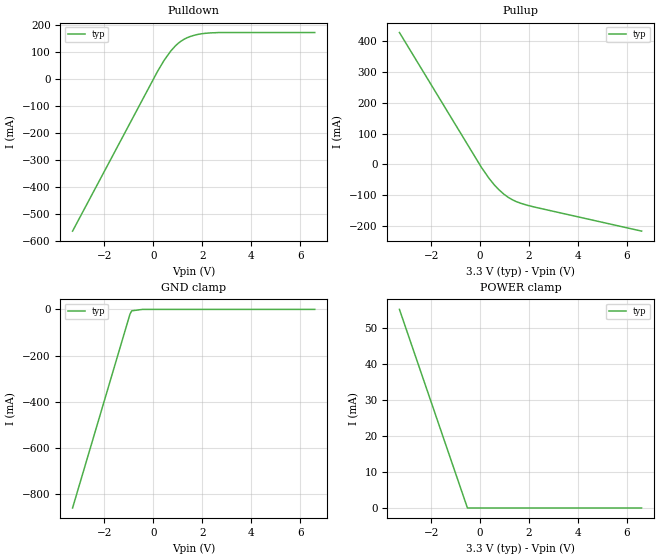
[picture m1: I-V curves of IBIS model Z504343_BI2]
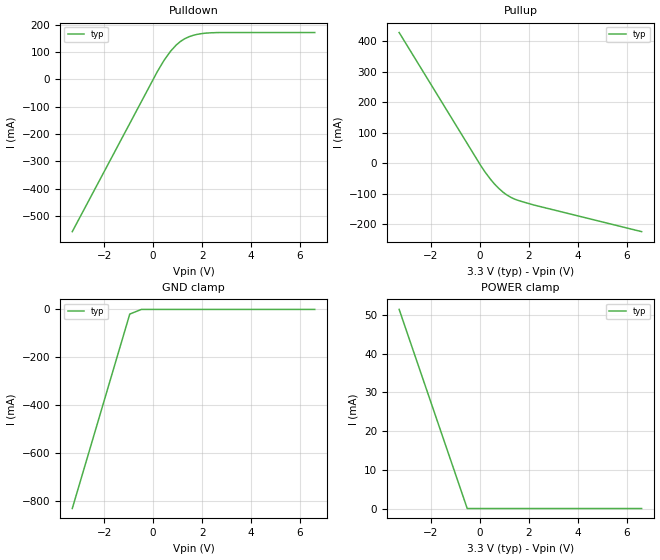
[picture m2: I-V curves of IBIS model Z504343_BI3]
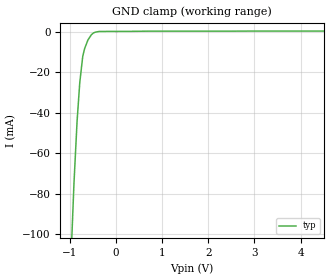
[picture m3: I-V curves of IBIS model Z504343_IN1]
| YOU ARE ONLY AUTHORIZED TO USE THIS SOFTWARE
| ACCORDING TO LICENSOR'S LICENSE RESTRICTIONS.
[IBIS Ver] 3.1
[File Name] mc74lcx245dw.ibs
[File Rev] 2.0
[Source] Measured and created by ICX Technology
[Date] Friday 7/14/00 9:08:12 AM
[Copyright]
| (C) COPYRIGHT 1993-2000
| MENTOR GRAPHICS CORPORATION
| ICX STANDARD LIBRARY, ICX PROJECT MODELING,
| ICX CUSTOM MODELING, ICX VENDOR MODEL
| ALL RIGHTS RESERVED.
| THE FOLLOWING ARE TRADEMARKS OR SERVICE MARKS OF
| MENTOR GRAPHICS CORPORATION:ICX (R), ICX STANDARD
| LIBRARY(R), ICX PROJECT MODELING(R), ICX CUSTOM
| MODELING(R), qualityIBIS(TM), MODELVIEWER(TM),
| AND MODELEDITOR(TM)
| ALL COPIES OF SOFTWARE, INCLUDING BUT NOT LIMITED TO
| ANY MODIFICATIONS, ENHANCEMENTS OR DERIVATIVE WORKS,
| MUST CONTAIN ALL MENTOR GRAPHICS CORPORATION'S
| NOTICES AND LEGENDS, INCLUDING THOSE EMBEDDED IN
| SOFTWARE AND THOSE AFFIXED TO SOFTWARE MEDIUM
| AND CONTAINER, AS RECEIVED FROM MENTOR GRAPHICS
| CORPORATION.
|  ZAP Model Builder 2.7
[Component] MC74LCX245DW
[Manufacturer] OnSemiconductor
[Package]
| variable   typ   min   max
R_pkg  .178ohms NA NA
L_pkg  4.43nH NA NA
C_pkg  .62pF NA NA
[Pin] signal_name  model_name  R_pin  L_pin C_pin
1 DIR Z504343_IN1 .186 5.37n .68p
2 A0 Z504343_BI2 .182 4.89n .65p
3 A1 Z504343_BI2 .178 4.42n .62p
4 A2 Z504343_BI2 .174 3.96n .59p
5 A3 Z504343_BI2 .17 3.51n .56p
6 A4 Z504343_BI2 .17 3.51n .56p
7 A5 Z504343_BI2 .174 3.96n .59p
8 A6 Z504343_BI2 .178 4.42n .62p
9 A7 Z504343_BI2 .182 4.89n .65p
10 GROUND GND .186 5.37n .68p
11 B7 Z504343_BI3 .186 5.37n .68p
12 B6 Z504343_BI3 .182 4.89n .65p
13 B5 Z504343_BI3 .178 4.42n .62p
14 B4 Z504343_BI3 .174 3.96n .59p
15 B3 Z504343_BI3 .17 3.51n .56p
16 B2 Z504343_BI3 .17 3.51n .56p
17 B1 Z504343_BI3 .174 3.96n .59p
18 B0 Z504343_BI3 .178 4.42n .62p
19 _G Z504343_IN4 .182 4.89n .65p
20 VCC POWER .186 5.37n .68p
| Models and submodels in the file (4): Z504343_BI2 (I/O), Z504343_BI3 (I/O), Z504343_IN1 (Input), Z504343_IN4 (Input)
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| (C) COPYRIGHT 1993-2000
| MENTOR GRAPHICS CORPORATION
| ICX STANDARD LIBRARY, ICX PROJECT MODELING,
| ICX CUSTOM MODELING, ICX VENDOR MODEL
| ALL RIGHTS RESERVED.
| THE FOLLOWING ARE TRADEMARKS OR SERVICE MARKS OF
| MENTOR GRAPHICS CORPORATION:ICX (R), ICX STANDARD
| LIBRARY(R), ICX PROJECT MODELING(R), ICX CUSTOM
| MODELING(R), qualityIBIS(TM), MODELVIEWER(TM),
| AND MODELEDITOR(TM)
| ALL COPIES OF SOFTWARE, INCLUDING BUT NOT LIMITED TO
| ANY MODIFICATIONS, ENHANCEMENTS OR DERIVATIVE WORKS,
| MUST CONTAIN ALL MENTOR GRAPHICS CORPORATION'S
| NOTICES AND LEGENDS, INCLUDING THOSE EMBEDDED IN
| SOFTWARE AND THOSE AFFIXED TO SOFTWARE MEDIUM
| AND CONTAINER, AS RECEIVED FROM MENTOR GRAPHICS
| CORPORATION.
| Model Application Version 1.89 2/18/99.
[Model] Z504343_BI2
Model_type I/O
Vinl=800.0mV
Vinh=2.000V
Vref=0.000V
Rref=500.0ohms
Cref=50.00pF
Vmeas=1.500V
C_comp 8.000pF NA NA
| variable typ   min   max
[Voltage Range] 3.300V NA NA
[POWER Clamp Reference] 3.300V NA NA
[Pullup Reference] 3.300V NA NA
[Pulldown Reference] 0.000V NA NA
[GND Clamp Reference] 0.000V NA NA
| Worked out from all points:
|   slope of the pulldown table from 0 to 0.495 V, typ, clamps not added: 6.41 ohm
|   slope of the pullup table from 0 to 0.495 V, typ, clamps not added: 8.92 ohm
[GND Clamp]
-3.3V     -861mA     NA         NA
-951.9mV  -20.14mA   NA         NA
-878.8mV  -6.101mA   NA         NA
-439.4mV  0A         NA         NA
6.6V      0A         NA         NA
[Pulldown]
-3.3V     -563.2mA   NA         NA
175.9mV   29.43mA    NA         NA
449.2mV   70.89mA    NA         NA
713mV     104.3mA    NA         NA
1.001V    131.8mA    NA         NA
1.265V    148.5mA    NA         NA
1.475V    157.1mA    NA         NA
1.783V    165.3mA    NA         NA
2.178V    170.6mA    NA         NA
6.6V      173.1mA    NA         NA
[Pullup]
-3.3V     429.1mA    NA         NA
49mV      -9.589mA   NA         NA
365mV     -45.88mA   NA         NA
581mV     -67.15mA   NA         NA
970mV     -97.08mA   NA         NA
1.464V    -120.9mA   NA         NA
1.93V     -133.2mA   NA         NA
6.6V      -217.3mA   NA         NA
[POWER Clamp]
-3.3V     55.07mA    NA         NA
-520.5mV  0A         NA         NA
6.6V      0A         NA         NA
[Ramp]
| variable typ min max
dV/dt_r 1.963/438.2p NA NA
dV/dt_f 1.963/1.253n NA NA
R_load = 500.0Ohms
| (C) COPYRIGHT 1993-2000
| MENTOR GRAPHICS CORPORATION
| ICX STANDARD LIBRARY, ICX PROJECT MODELING,
| ICX CUSTOM MODELING, ICX VENDOR MODEL
| ALL RIGHTS RESERVED.
| THE FOLLOWING ARE TRADEMARKS OR SERVICE MARKS OF
| MENTOR GRAPHICS CORPORATION:ICX (R), ICX STANDARD
| LIBRARY(R), ICX PROJECT MODELING(R), ICX CUSTOM
| MODELING(R), qualityIBIS(TM), MODELVIEWER(TM),
| AND MODELEDITOR(TM)
| ALL COPIES OF SOFTWARE, INCLUDING BUT NOT LIMITED TO
| ANY MODIFICATIONS, ENHANCEMENTS OR DERIVATIVE WORKS,
| MUST CONTAIN ALL MENTOR GRAPHICS CORPORATION'S
| NOTICES AND LEGENDS, INCLUDING THOSE EMBEDDED IN
| SOFTWARE AND THOSE AFFIXED TO SOFTWARE MEDIUM
| AND CONTAINER, AS RECEIVED FROM MENTOR GRAPHICS
| CORPORATION.
| Model Application Version 1.89 2/18/99.
[Model] Z504343_BI3
Model_type I/O
Vinl=800.0mV
Vinh=2.000V
Vref=0.000V
Rref=500.0ohms
Cref=50.00pF
Vmeas=1.500V
C_comp 8.000pF NA NA
| variable typ   min   max
[Voltage Range] 3.300V NA NA
[POWER Clamp Reference] 3.300V NA NA
[Pullup Reference] 3.300V NA NA
[Pulldown Reference] 0.000V NA NA
[GND Clamp Reference] 0.000V NA NA
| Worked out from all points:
|   slope of the pulldown table from 0 to 0.495 V, typ, clamps not added: 6.47 ohm
|   slope of the pullup table from 0 to 0.495 V, typ, clamps not added: 8.97 ohm
[GND Clamp]
-3.3V     -831.6mA   NA         NA
-952.6mV  -19.4mA    NA         NA
-476.3mV  0A         NA         NA
6.6V      0A         NA         NA
[Pulldown]
-3.3V     -558.1mA   NA         NA
176.7mV   29.15mA    NA         NA
449.4mV   70.14mA    NA         NA
714.3mV   103.3mA    NA         NA
948.4mV   126.3mA    NA         NA
1.114V    138.8mA    NA         NA
1.285V    148.7mA    NA         NA
1.65V     161.8mA    NA         NA
2.396V    171mA      NA         NA
6.6V      171.7mA    NA         NA
[Pullup]
-3.3V     428.8mA    NA         NA
13mV      -5.052mA   NA         NA
440mV     -53.3mA    NA         NA
766mV     -82.15mA   NA         NA
951mV     -95.23mA   NA         NA
1.43V     -117.9mA   NA         NA
2.187V    -136.4mA   NA         NA
6.6V      -224mA     NA         NA
[POWER Clamp]
-3.3V     51.43mA    NA         NA
-520.5mV  0A         NA         NA
6.6V      0A         NA         NA
[Ramp]
| variable typ min max
dV/dt_r 1.962/428.5p NA NA
dV/dt_f 1.962/1.073n NA NA
R_load = 500.0Ohms
| (C) COPYRIGHT 1993-2000
| MENTOR GRAPHICS CORPORATION
| ICX STANDARD LIBRARY, ICX PROJECT MODELING,
| ICX CUSTOM MODELING, ICX VENDOR MODEL
| ALL RIGHTS RESERVED.
| THE FOLLOWING ARE TRADEMARKS OR SERVICE MARKS OF
| MENTOR GRAPHICS CORPORATION:ICX (R), ICX STANDARD
| LIBRARY(R), ICX PROJECT MODELING(R), ICX CUSTOM
| MODELING(R), qualityIBIS(TM), MODELVIEWER(TM),
| AND MODELEDITOR(TM)
| ALL COPIES OF SOFTWARE, INCLUDING BUT NOT LIMITED TO
| ANY MODIFICATIONS, ENHANCEMENTS OR DERIVATIVE WORKS,
| MUST CONTAIN ALL MENTOR GRAPHICS CORPORATION'S
| NOTICES AND LEGENDS, INCLUDING THOSE EMBEDDED IN
| SOFTWARE AND THOSE AFFIXED TO SOFTWARE MEDIUM
| AND CONTAINER, AS RECEIVED FROM MENTOR GRAPHICS
| CORPORATION.
| Model Application Version 1.89 2/18/99.
[Model] Z504343_IN1
Model_type Input
Vinl = 800.0mV
Vinh = 2.000V
C_comp 4.000pF NA NA
| variable typ   min   max
[Voltage Range] 3.300V NA NA
[GND Clamp Reference] 0.000V NA NA
[POWER Clamp Reference] 3.300V NA NA
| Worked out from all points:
|   GND clamp passes 1 mA (typ) near -0.50 V on its own axis
[GND Clamp]
-3.3V     -1.452A    NA         NA
-908.1mV  -75.25mA   NA         NA
-839.8mV  -44.12mA   NA         NA
-781.3mV  -25.06mA   NA         NA
-717.8mV  -12.35mA   NA         NA
-678.4mV  -8.51mA    NA         NA
-605.4mV  -4.182mA   NA         NA
-529.2mV  -1.537mA   NA         NA
-449.2mV  -342uA     NA         NA
-371.1mV  11.1uA     NA         NA
706.1mV   186.3uA    NA         NA
6.6V      228.6uA    NA         NA
[POWER Clamp]
-3.3V     0A         NA         NA
6.6V      0A         NA         NA
